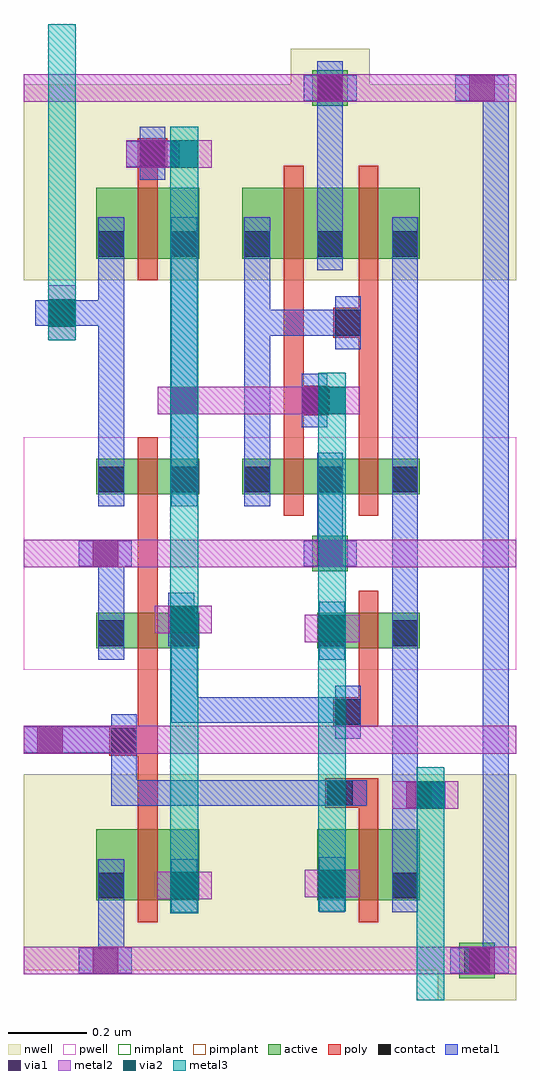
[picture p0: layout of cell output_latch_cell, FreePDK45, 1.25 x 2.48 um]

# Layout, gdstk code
from math import pi, radians
import gdstk
lib = gdstk.Library(unit=1e-6, precision=5e-10)
def R(c, l, rs):  # rectangles x0, y0, x1, y1
    for r in rs: c.add(gdstk.rectangle(r[:2], r[2:], *l))
active = (1, 0)
pwell = (2, 0)
nwell = (3, 0)
nimplant = (4, 0)
pimplant = (5, 0)
poly = (9, 0)
contact = (10, 0)
metal1 = (11, 0)
via1 = (12, 0)
metal2 = (13, 0)
via2 = (14, 0)
metal3 = (15, 0)

dcont_29 = lib.new_cell('dcont_29')
R(dcont_29, active, [(-0.0375,0.03,0.0375,0.105)])
R(dcont_29, contact, [(-0.0325,0.035,0.0325,0.1)])
R(dcont_29, metal1, [(-0.0325,0,0.0325,0.135)])

pmos_vtl_4 = lib.new_cell('pmos_vtl_4')
R(pmos_vtl_4, active, [(-0.07,0,0.155,0.18), (-0.07,0,0,0.18), (0.08,0,0.155,0.18), (0.08,0,0.155,0.18)])
R(pmos_vtl_4, nwell, [(-0.125,-0.055,0.21,0.235)])
R(pmos_vtl_4, pimplant, [(-0.07,0,0.155,0.18)])
R(pmos_vtl_4, poly, [(0,-0.055,0.05,0), (0,-0.055,0.05,0.235), (0,0.18,0.05,0.235)])
pmos_vtl_4.add(gdstk.Reference(dcont_29, (0.1175,-0.03)))
pmos_vtl_4.add(gdstk.Label('l = 0.05', (0.06,0.09), layer=239, texttype=0))
pmos_vtl_4.add(gdstk.Label('w = 0.18', (0.025,0.245), layer=239, texttype=0))

pmos_vtl_5 = lib.new_cell('pmos_vtl_5')
R(pmos_vtl_5, active, [(-0.105,0,0.155,0.18), (-0.105,0,-0.03,0.18), (-0.105,0,-0.03,0.18), (0.08,0,0.155,0.18), (0.08,0,0.155,0.18)])
R(pmos_vtl_5, nwell, [(-0.16,-0.055,0.21,0.235)])
R(pmos_vtl_5, pimplant, [(-0.105,0,0.155,0.18)])
R(pmos_vtl_5, poly, [(0,-0.055,0.05,0), (0,-0.055,0.05,0.235), (0,0.18,0.05,0.235)])
pmos_vtl_5.add(gdstk.Reference(dcont_29, (0.1175,-0.03)))
pmos_vtl_5.add(gdstk.Reference(dcont_29, (-0.0675,-0.03)))
pmos_vtl_5.add(gdstk.Label('l = 0.05', (0.06,0.09), layer=239, texttype=0))
pmos_vtl_5.add(gdstk.Label('w = 0.18', (0.025,0.245), layer=239, texttype=0))

nmos_vtl_6 = lib.new_cell('nmos_vtl_6')
R(nmos_vtl_6, active, [(-0.105,0,0.155,0.09), (-0.105,0,-0.03,0.09), (-0.105,0,-0.03,0.09), (0.08,0,0.155,0.09), (0.08,0,0.155,0.09)])
R(nmos_vtl_6, pwell, [(-0.16,-0.055,0.21,0.145)])
R(nmos_vtl_6, nimplant, [(-0.105,0,0.155,0.09)])
R(nmos_vtl_6, poly, [(0,-0.055,0.05,0), (0,-0.055,0.05,0.145), (0,0.09,0.05,0.145)])
nmos_vtl_6.add(gdstk.Reference(dcont_29, (0.1175,-0.03)))
nmos_vtl_6.add(gdstk.Reference(dcont_29, (-0.0675,-0.03)))
nmos_vtl_6.add(gdstk.Label('l = 0.05', (0.06,0.045), layer=239, texttype=0))
nmos_vtl_6.add(gdstk.Label('w = 0.09', (0.025,0.155), layer=239, texttype=0))

nmos_vtl_7 = lib.new_cell('nmos_vtl_7')
R(nmos_vtl_7, active, [(-0.105,0,0.155,0.09), (-0.105,0,-0.03,0.09), (-0.105,0,-0.03,0.09), (0.08,0,0.155,0.09), (0.08,0,0.155,0.09)])
R(nmos_vtl_7, pwell, [(-0.16,-0.055,0.21,0.145)])
R(nmos_vtl_7, nimplant, [(-0.105,0,0.155,0.09)])
R(nmos_vtl_7, poly, [(0,-0.055,0.05,0), (0,-0.055,0.05,0.145), (0,0.09,0.05,0.145)])
nmos_vtl_7.add(gdstk.Reference(dcont_29, (0.1175,-0.03)))
nmos_vtl_7.add(gdstk.Reference(dcont_29, (-0.0675,-0.03)))
nmos_vtl_7.add(gdstk.Label('l = 0.05', (0.06,0.045), layer=239, texttype=0))
nmos_vtl_7.add(gdstk.Label('w = 0.09', (0.025,0.155), layer=239, texttype=0))

pmos_vtl_8 = lib.new_cell('pmos_vtl_8')
R(pmos_vtl_8, active, [(-0.105,0,0.155,0.18), (-0.105,0,-0.03,0.18), (-0.105,0,-0.03,0.18), (0.08,0,0.155,0.18), (0.08,0,0.155,0.18)])
R(pmos_vtl_8, nwell, [(-0.16,-0.055,0.21,0.235)])
R(pmos_vtl_8, pimplant, [(-0.105,0,0.155,0.18)])
R(pmos_vtl_8, poly, [(0,-0.055,0.05,0), (0,-0.055,0.05,0.235), (0,0.18,0.05,0.235)])
pmos_vtl_8.add(gdstk.Reference(dcont_29, (0.1175,-0.03)))
pmos_vtl_8.add(gdstk.Reference(dcont_29, (-0.0675,-0.03)))
pmos_vtl_8.add(gdstk.Label('l = 0.05', (0.06,0.09), layer=239, texttype=0))
pmos_vtl_8.add(gdstk.Label('w = 0.18', (0.025,0.245), layer=239, texttype=0))

nmos_vtl_9 = lib.new_cell('nmos_vtl_9')
R(nmos_vtl_9, active, [(-0.07,0,0.155,0.09), (-0.07,0,0,0.09), (0.08,0,0.155,0.09), (0.08,0,0.155,0.09)])
R(nmos_vtl_9, pwell, [(-0.125,-0.055,0.21,0.145)])
R(nmos_vtl_9, nimplant, [(-0.07,0,0.155,0.09)])
R(nmos_vtl_9, poly, [(0,-0.055,0.05,0), (0,-0.055,0.05,0.145), (0,0.09,0.05,0.145)])
nmos_vtl_9.add(gdstk.Reference(dcont_29, (0.1175,-0.03)))
nmos_vtl_9.add(gdstk.Label('l = 0.05', (0.06,0.045), layer=239, texttype=0))
nmos_vtl_9.add(gdstk.Label('w = 0.09', (0.025,0.155), layer=239, texttype=0))

ntap_0 = lib.new_cell('NTAP_0')
R(ntap_0, active, [(-0.045,-0.045,0.045,0.045)])
R(ntap_0, nwell, [(-0.1,-0.1,0.1,0.1)])
R(ntap_0, nimplant, [(-0.045,-0.045,0.045,0.045)])
R(ntap_0, contact, [(-0.0325,-0.0325,0.0325,0.0325)])
R(ntap_0, metal1, [(-0.0325,-0.0675,0.0325,0.0675)])

m3_m2_2 = lib.new_cell('M3_M2_2')
R(m3_m2_2, metal2, [(-0.035,-0.07,0.035,0.07)])
R(m3_m2_2, via2, [(-0.035,-0.035,0.035,0.035)])
R(m3_m2_2, metal3, [(-0.035,-0.07,0.035,0.07)])

m3_m2_via = lib.new_cell('M3_M2_via')
R(m3_m2_via, metal2, [(-0.035,-0.07,0.035,0.07)])
R(m3_m2_via, via2, [(-0.035,-0.035,0.035,0.035)])
R(m3_m2_via, metal3, [(-0.07,-0.035,0.07,0.035)])

ptap_1 = lib.new_cell('PTAP_1')
R(ptap_1, active, [(-0.045,-0.045,0.045,0.045)])
R(ptap_1, pwell, [(-0.1,-0.1,0.1,0.1)])
R(ptap_1, pimplant, [(-0.045,-0.045,0.045,0.045)])
R(ptap_1, contact, [(-0.0325,-0.0325,0.0325,0.0325)])
R(ptap_1, metal1, [(-0.0325,-0.0675,0.0325,0.0675)])

m1_poly_3 = lib.new_cell('M1_POLY_3')
R(m1_poly_3, poly, [(-0.0375,-0.0375,0.0375,0.0375)])
R(m1_poly_3, contact, [(-0.0325,-0.0325,0.0325,0.0325)])
R(m1_poly_3, metal1, [(-0.0325,-0.0675,0.0325,0.0675)])

m2_m1_4 = lib.new_cell('M2_M1_4')
R(m2_m1_4, metal1, [(-0.0325,-0.0675,0.0325,0.0675)])
R(m2_m1_4, via1, [(-0.0325,-0.0325,0.0325,0.0325)])
R(m2_m1_4, metal2, [(-0.035,-0.0675,0.035,0.0675)])

m2_m1_via = lib.new_cell('M2_M1_via')
R(m2_m1_via, metal1, [(-0.0675,-0.0325,0.0675,0.0325)])
R(m2_m1_via, via1, [(-0.0325,-0.0325,0.0325,0.0325)])
R(m2_m1_via, metal2, [(-0.035,-0.0675,0.035,0.0675)])

output_latch_cell = lib.new_cell('output_latch_cell')
R(output_latch_cell, pwell, [(0,0.7375,1.25,1.3275)])
R(output_latch_cell, nwell, [(0,-0.025,1.25,0.4725), (0,1.725,1.25,2.2225)])
R(output_latch_cell, poly, [(0.84,0.3875,0.9,0.4625), (0.66,1.3225,0.71,1.725), (0.85,1.3225,0.9,1.7275)])
R(output_latch_cell, metal1, [(0.375,0.6025,0.44,0.7675), (0.375,0.7575,0.44,0.7625), (0.56,1.2625,0.625,1.77), (0.935,1.2675,1,1.7675)])
R(output_latch_cell, metal2, [(0,-0.035,1.25,0.035), (0.125,0.525,1.25,0.595), (0,0.9975,1.25,1.0675), (0.0275,1,0.0775,1.0425), (0,2.1775,1.25,2.2475), (0.0825,2.1975,0.12,2.23)])
R(output_latch_cell, metal3, [(1.025,0.0225,1.0475,0.115), (0.3725,0.125,0.4425,2.115), (0.7475,0.1425,0.8175,0.69), (0.7475,0.6525,0.8175,0.7725), (0.7475,0.9125,0.8175,1.3625), (0.0625,1.575,0.1325,2.375), (0.075,2.2425,0.1125,2.275)])
output_latch_cell.add(gdstk.FlexPath([(0.875,0.7475),(0.875,0.5925)], 0.05, ends="flush", simple_path=True, layer=9, datatype=0))  # poly
output_latch_cell.add(gdstk.FlexPath([(0.315,1.1375),(0.315,0.93)], 0.05, ends="flush", simple_path=True, layer=9, datatype=0))  # poly
output_latch_cell.add(gdstk.FlexPath([(0.315,0.755),(0.315,0.35)], 0.05, ends="flush", simple_path=True, layer=9, datatype=0))  # poly
output_latch_cell.add(gdstk.FlexPath([(0.73,1.42),(0.3625,1.42)], 0.07, ends="flush", simple_path=True, layer=13, datatype=0))  # metal2
output_latch_cell.add(gdstk.FlexPath([(0.1225,1.6425),(0.2275,1.6425)], 0.065, ends="flush", simple_path=True, layer=11, datatype=0))  # metal1
output_latch_cell.add(gdstk.FlexPath([(0.375,0.635),(0.8425,0.635)], 0.065, ends="flush", simple_path=True, layer=11, datatype=0))  # metal1
output_latch_cell.add(gdstk.FlexPath([(0.9675,0.775),(0.9675,0.2)], 0.065, ends="flush", simple_path=True, layer=11, datatype=0))  # metal1
output_latch_cell.add(gdstk.FlexPath([(0.255,0.53),(0.255,0.3925)], 0.065, ends="flush", simple_path=True, layer=11, datatype=0))  # metal1
output_latch_cell.add(gdstk.FlexPath([(0.7475,0.425),(0.225,0.425)], 0.065, ends="flush", simple_path=True, layer=11, datatype=0))  # metal1
output_latch_cell.add(gdstk.FlexPath([(0.4075,1.76),(0.4075,1.2625)], 0.065, ends="flush", simple_path=True, layer=11, datatype=0))  # metal1
output_latch_cell.add(gdstk.FlexPath([(0.0075,0.56),(0.26,0.56)], 0.065, ends="flush", simple_path=True, layer=11, datatype=0))  # metal1
output_latch_cell.add(gdstk.FlexPath([(0.9675,1.16),(0.9675,0.885)], 0.065, ends="flush", simple_path=True, layer=11, datatype=0))  # metal1
output_latch_cell.add(gdstk.FlexPath([(0.2225,1.76),(0.2225,1.2625)], 0.065, ends="flush", simple_path=True, layer=11, datatype=0))  # metal1
output_latch_cell.add(gdstk.FlexPath([(0.7775,1.7675),(0.7775,2.1825)], 0.065, ends="flush", simple_path=True, layer=11, datatype=0))  # metal1
output_latch_cell.add(gdstk.FlexPath([(0.2225,0.8775),(0.2225,1.065)], 0.065, ends="flush", simple_path=True, layer=11, datatype=0))  # metal1
output_latch_cell.add(gdstk.FlexPath([(0.8125,1.6175),(0.5975,1.6175)], 0.065, ends="flush", simple_path=True, layer=11, datatype=0))  # metal1
output_latch_cell.add(gdstk.FlexPath([(0.7775,1.0125),(0.7775,1.2875)], 0.065, ends="flush", simple_path=True, layer=11, datatype=0))  # metal1
output_latch_cell.add(gdstk.FlexPath([(1.1975,2.245),(1.1975,-0.0325)], 0.065, ends="flush", simple_path=True, layer=11, datatype=0))  # metal1
output_latch_cell.add(gdstk.FlexPath([(0.2225,-0.0175),(0.2225,0.1475)], 0.065, ends="flush", simple_path=True, layer=11, datatype=0))  # metal1
output_latch_cell.add(gdstk.FlexPath([(1.0325,0.4475),(1.0325,-0.1)], 0.07, ends="flush", simple_path=True, layer=15, datatype=0))  # metal3
output_latch_cell.add(gdstk.Reference(pmos_vtl_4, (0.85,1.78)))
output_latch_cell.add(gdstk.Reference(pmos_vtl_5, (0.66,1.78)))
output_latch_cell.add(gdstk.Reference(nmos_vtl_6, (0.85,0.7925)))
output_latch_cell.add(gdstk.Reference(nmos_vtl_6, (0.29,0.7925)))
output_latch_cell.add(gdstk.Reference(nmos_vtl_6, (0.29,1.1825)))
output_latch_cell.add(gdstk.Reference(nmos_vtl_7, (0.66,1.1825)))
output_latch_cell.add(gdstk.Reference(pmos_vtl_8, (0.29,1.78)))
output_latch_cell.add(gdstk.Reference(pmos_vtl_8, (0.29,0.1525)))
output_latch_cell.add(gdstk.Reference(pmos_vtl_8, (0.85,0.1525)))
output_latch_cell.add(gdstk.Reference(nmos_vtl_9, (0.85,1.1825)))
output_latch_cell.add(gdstk.Reference(ntap_0, (0.7775,2.2125), rotation=pi/2))
output_latch_cell.add(gdstk.Reference(ntap_0, (1.15,0), rotation=pi/2))
output_latch_cell.add(gdstk.Reference(m3_m2_2, (0.0975,1.6425)))
output_latch_cell.add(gdstk.Reference(m3_m2_via, (0.4075,0.19), rotation=pi/2))
output_latch_cell.add(gdstk.Reference(m3_m2_via, (0.7825,0.8425), rotation=pi/2))
output_latch_cell.add(gdstk.Reference(m3_m2_via, (0.7825,0.195), rotation=pi/2))
output_latch_cell.add(gdstk.Reference(m3_m2_via, (0.7825,1.42), rotation=pi/2))
output_latch_cell.add(gdstk.Reference(m3_m2_via, (1.0325,0.42), rotation=pi/2))
output_latch_cell.add(gdstk.Reference(m3_m2_via, (0.7825,0.8425), rotation=pi/2))
output_latch_cell.add(gdstk.Reference(m3_m2_via, (0.4075,0.865), rotation=pi/2))
output_latch_cell.add(gdstk.Reference(m3_m2_via, (0.4075,2.045), rotation=pi/2))
output_latch_cell.add(gdstk.Reference(ptap_1, (0.7775,1.0325), rotation=pi/2))
output_latch_cell.add(gdstk.Reference(m1_poly_3, (0.8225,0.63)))
output_latch_cell.add(gdstk.Reference(m1_poly_3, (0.8025,0.425), rotation=pi/2))
output_latch_cell.add(gdstk.Reference(m1_poly_3, (0.8225,1.6175), rotation=pi))
output_latch_cell.add(gdstk.Reference(m1_poly_3, (0.3275,2.0475)))
output_latch_cell.add(gdstk.Reference(m1_poly_3, (0.255,0.5575)))
output_latch_cell.add(gdstk.Reference(m1_poly_3, (0.7375,1.42), rotation=pi))
output_latch_cell.add(gdstk.Reference(m2_m1_4, (1.0025,0.42), rotation=pi/2))
output_latch_cell.add(gdstk.Reference(m2_m1_4, (1.1625,2.2125), rotation=pi/2))
output_latch_cell.add(gdstk.Reference(m2_m1_4, (0.3275,2.045), rotation=3*pi/2, x_reflection=True))
output_latch_cell.add(gdstk.Reference(m2_m1_4, (0.2075,1.0325), rotation=pi/2))
output_latch_cell.add(gdstk.Reference(m2_m1_4, (0.2075,0), rotation=pi/2))
output_latch_cell.add(gdstk.Reference(m2_m1_4, (0.7775,1.0325), rotation=pi/2))
output_latch_cell.add(gdstk.Reference(m2_m1_4, (1.1625,0), rotation=pi/2))
output_latch_cell.add(gdstk.Reference(m2_m1_4, (0.0675,0.56), rotation=pi/2))
output_latch_cell.add(gdstk.Reference(m2_m1_via, (0.7825,0.195), rotation=pi/2))
output_latch_cell.add(gdstk.Reference(m2_m1_via, (0.7825,0.8425), rotation=3*pi/2))
output_latch_cell.add(gdstk.Reference(m2_m1_via, (0.4075,0.19), rotation=pi/2))
output_latch_cell.add(gdstk.Reference(m2_m1_via, (0.4,0.865), rotation=pi/2))
output_latch_cell.add(gdstk.Reference(m2_m1_via, (0.4075,1.42), rotation=pi/2))
output_latch_cell.add(gdstk.Reference(m2_m1_via, (0.7375,1.42), rotation=pi/2))
output_latch_cell.add(gdstk.Reference(m2_m1_via, (0.7775,2.2125), rotation=pi/2))
output_latch_cell.add(gdstk.Reference(m2_m1_via, (0.0975,1.6425)))

lib.write_gds('output_latch_cell.gds')
